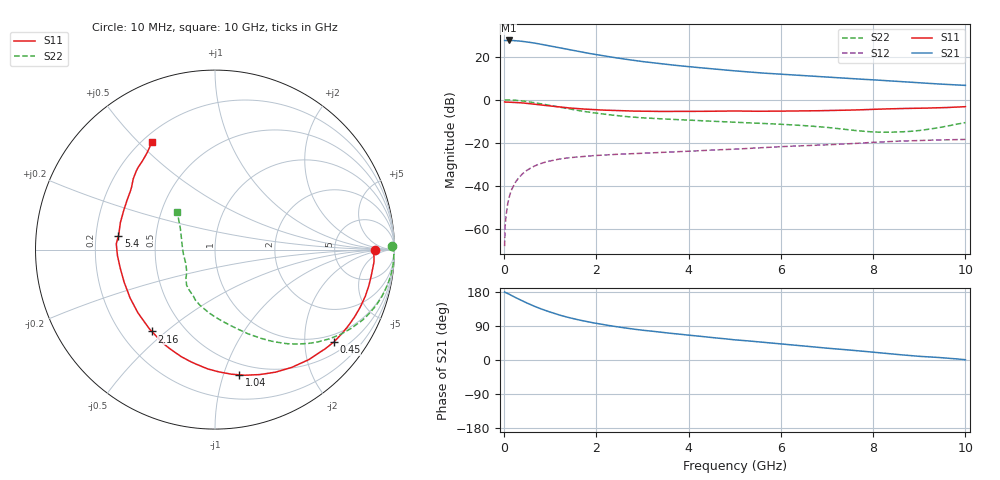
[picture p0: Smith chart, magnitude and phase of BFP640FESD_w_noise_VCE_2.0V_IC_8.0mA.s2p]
! Infineon Technologies  Discrete & RF Semiconductors
! BFP640FESD
! VCE =  2.0 V,  IC =  8.0 mA
! Common Emitter S-Parameters:  Jan 2016
# GHz  S  MA  R  50
!  f  S11  S21  S12  S22
! GHz  MAG  ANG  MAG  ANG  MAG  ANG  MAG  ANG
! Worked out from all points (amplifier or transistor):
!   233 points, 10 MHz to 10 GHz, reference 50 ohm
!   highest |S21| = 27.6 dB at 100 MHz (marker M1)
!   |S21| within 3 dB of that: start of sweep to 1.105 GHz
!   unconditionally stable (mu >= 1): 5.342 GHz to end of sweep
!   at 200 MHz: K = 0.03, MSG = 33.8 dB, |S12| = -40.1 dB
!   at 1.74 GHz: K = 0.42, MSG = 24.1 dB, |S12| = -26.2 dB
!   at 10 GHz: K = 1.15, MAG = 10.2 dB, |S12| = -18.4 dB
!   lowest NFmin = 0.62 dB at 450 MHz
!   S11 on the Smith chart (normalised r, x): 10 MHz: 18, +0; 450 MHz: 0.78, -2.71; 1.04 GHz: 0.40, -1.13; 2.16 GHz: 0.33, -0.45; 5.4 GHz: 0.30, +0.06; 10 GHz: 0.24, +0.55
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0.01  0.8922 0.0  23.87 179.5  0.0004 65.4  0.9855 1.1
0.02  0.8855 -1.7  23.8 178.7  0.0011 92.2  0.9966 -1.0
0.04  0.8875 -3.4  23.78 177.4  0.002 88.3  0.9968 -2.1
0.1  0.8838 -8.5  23.91 174.2  0.005 84.9  0.9956 -5.3
0.2  0.8769 -17.1  23.75 167.9  0.0099 81.1  0.984 -10.6
0.3  0.8634 -25.7  23.32 161.7  0.0147 76.7  0.9654 -15.8
0.45  0.8384 -37.9  22.39 152.9  0.0213 70.5  0.9266 -23.1
0.6  0.8056 -49.5  21.25 144.6  0.027 64.7  0.8778 -29.9
0.7  0.7833 -56.9  20.43 139.6  0.0304 61.2  0.8435 -34.1
0.9  0.7396 -70.3  18.65 130.4  0.036 55.3  0.7729 -41.6
1.04  0.7106 -79.0  17.45 124.8  0.0391 51.9  0.7243 -46.3
1.2  0.6811 -88.3  16.17 118.6  0.0422 48.4  0.6726 -51.4
1.36  0.6553 -96.5  14.95 113.3  0.0445 45.5  0.6259 -55.7
1.68  0.6157 -110.9  12.88 104.1  0.0482 41.3  0.5483 -63.4
2.16  0.5767 -127.7  10.48 93.3  0.0522 37.7  0.4661 -73.3
2.74  0.5494 -144.4  8.443 82.6  0.056 35.2  0.4006 -84.2
3.4  0.5378 -158.3  6.872 73.3  0.0598 34.5  0.362 -93.4
5.1  0.5488 175.6  4.613 52.3  0.0725 34.0  0.2984 -112.0
5.4  0.5439 172.2  4.342 49.2  0.0753 34.6  0.2896 -114.0
6.8  0.5581 152.9  3.471 33.5  0.0885 31.6  0.2384 -132.3
8.4  0.62 135.0  2.736 16.0  0.1082 27.4  0.1776 -171.9
10  0.6938 120.5  2.163 0.8  0.1204 19.3  0.2971 135.3
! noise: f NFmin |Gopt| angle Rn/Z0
0.45  0.62  0.3  5  0.11
2.4  0.72  0.16  61  0.1
5.5  0.97  0.33  156  0.07
10  1.69  0.47  -119  0.24
